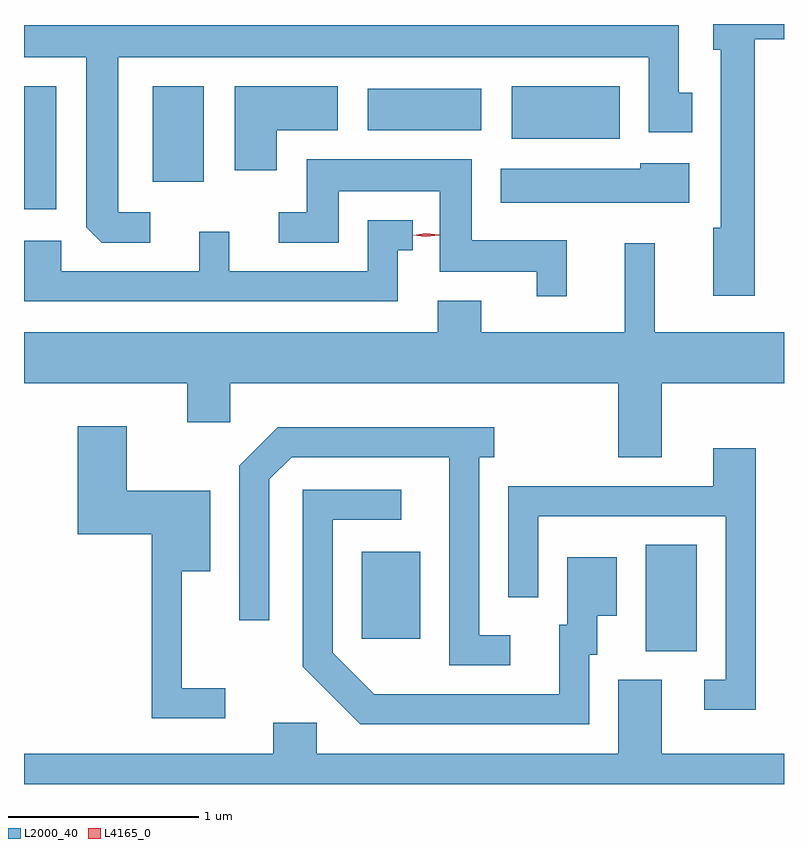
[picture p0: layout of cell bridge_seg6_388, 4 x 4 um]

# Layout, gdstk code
import gdstk
lib = gdstk.Library(unit=1e-6, precision=1e-09)
def R(c, l, rs):  # rectangles x0, y0, x1, y1
    for r in rs: c.add(gdstk.rectangle(r[:2], r[2:], *l))
def P(c, l, *ps):  # polygons
    for p in ps: c.add(gdstk.Polygon(p, *l))
L2000_40 = (2000, 40)
L4165_0 = (4165, 0)

bridge_seg6_388 = lib.new_cell('bridge_seg6_388')
R(bridge_seg6_388, L2000_40, [(863.906,1664.066,864.174,1664.624), (862.411,1664.131,862.719,1664.589), (860.633,1666.391,860.804,1667.039), (861.311,1666.536,861.579,1667.039), (863.201,1666.761,863.769,1667.039), (862.441,1666.806,863.039,1667.024)])
P(bridge_seg6_388, L2000_40, [(864.479,1667.286),(864.633,1667.286),(864.633,1667.366),(864.261,1667.366),(864.261,1667.231),(864.301,1667.231),(864.301,1666.294),(864.261,1666.294),(864.261,1665.936),(864.479,1665.936)],
  [(861.298,1666.374),(861.129,1666.374),(861.129,1667.191),(863.921,1667.191),(863.921,1666.796),(864.149,1666.796),(864.149,1667.004),(864.079,1667.004),(864.079,1667.359),(860.633,1667.359),(860.633,1667.191),(860.961,1667.191),(860.961,1666.297),(861.042,1666.216),(861.298,1666.216)],
  [(861.964,1666.806),(862.284,1666.806),(862.284,1667.039),(861.741,1667.039),(861.741,1666.596),(861.964,1666.596)],
  [(863.489,1666.229),(862.989,1666.229),(862.989,1666.654),(862.121,1666.654),(862.121,1666.374),(861.973,1666.374),(861.973,1666.216),(862.289,1666.216),(862.289,1666.486),(862.821,1666.486),(862.821,1666.061),(863.331,1666.061),(863.331,1665.933),(863.489,1665.933)],
  [(864.134,1666.634),(863.876,1666.634),(863.876,1666.604),(863.141,1666.604),(863.141,1666.426),(864.134,1666.426)],
  [(862.599,1666.176),(862.678,1666.176),(862.678,1666.334),(862.441,1666.334),(862.441,1666.064),(861.714,1666.064),(861.714,1666.273),(861.556,1666.273),(861.556,1666.064),(860.829,1666.064),(860.829,1666.224),(860.633,1666.224),(860.633,1665.906),(862.599,1665.906)],
  [(860.633,1665.476),(861.491,1665.476),(861.491,1665.271),(861.719,1665.271),(861.719,1665.476),(863.761,1665.476),(863.761,1665.086),(863.989,1665.086),(863.989,1665.476),(864.633,1665.476),(864.633,1665.744),(863.954,1665.744),(863.954,1666.213),(863.796,1666.213),(863.796,1665.744),(863.039,1665.744),(863.039,1665.909),(862.811,1665.909),(862.811,1665.744),(860.633,1665.744)],
  [(861.693,1663.869),(861.464,1663.869),(861.464,1664.486),(861.614,1664.486),(861.614,1664.909),(861.174,1664.909),(861.174,1665.249),(860.916,1665.249),(860.916,1664.681),(861.306,1664.681),(861.306,1663.711),(861.693,1663.711)],
  [(863.193,1664.149),(863.029,1664.149),(863.029,1665.086),(863.108,1665.086),(863.108,1665.244),(861.969,1665.244),(861.766,1665.042),(861.766,1664.228),(861.924,1664.228),(861.924,1664.969),(862.042,1665.086),(862.871,1665.086),(862.871,1663.991),(863.193,1663.991)],
  [(864.484,1665.134),(864.261,1665.134),(864.261,1664.934),(863.181,1664.934),(863.181,1664.348),(863.339,1664.348),(863.339,1664.776),(864.326,1664.776),(864.326,1663.914),(864.213,1663.914),(864.213,1663.756),(864.484,1663.756)],
  [(863.609,1664.046),(863.649,1664.046),(863.649,1664.251),(863.754,1664.251),(863.754,1664.559),(863.491,1664.559),(863.491,1664.204),(863.451,1664.204),(863.451,1663.839),(862.477,1663.839),(862.259,1664.057),(862.259,1664.756),(862.618,1664.756),(862.618,1664.914),(862.101,1664.914),(862.101,1663.984),(862.404,1663.681),(863.609,1663.681)],
  [(864.633,1663.524),(863.989,1663.524),(863.989,1663.914),(863.761,1663.914),(863.761,1663.524),(862.174,1663.524),(862.174,1663.689),(861.946,1663.689),(861.946,1663.524),(860.633,1663.524),(860.633,1663.366),(864.633,1663.366)])
P(bridge_seg6_388, L4165_0, [(862.748,1666.245),(862.679,1666.254),(862.679,1666.255),(862.679,1666.255),(862.748,1666.265),(862.818,1666.256),(862.818,1666.256),(862.818,1666.255)])

lib.write_gds('bridge_seg6_388.gds')
